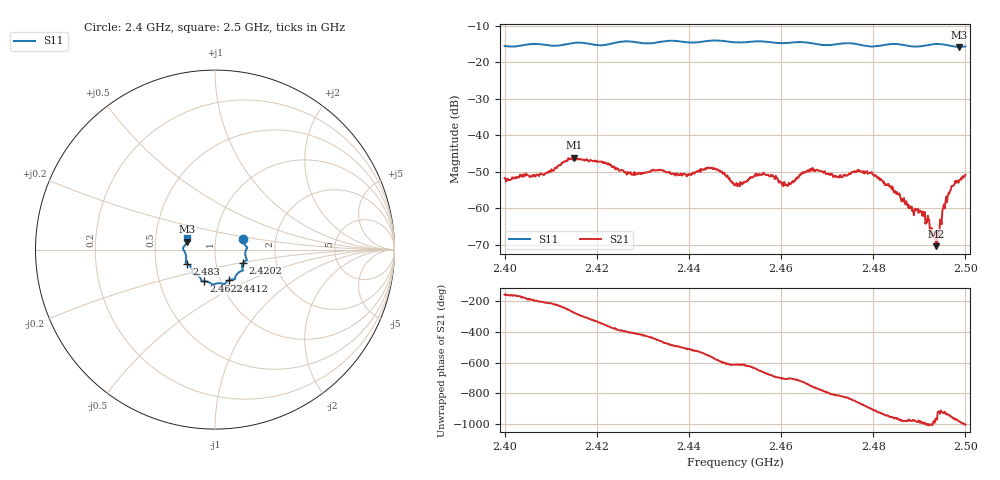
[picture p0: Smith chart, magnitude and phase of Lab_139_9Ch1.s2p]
# Hz S RI R 50
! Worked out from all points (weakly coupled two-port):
!   601 points, 2.4 GHz to 2.5 GHz, reference 50 ohm
!   highest |S21| = -46.14 dB at 2.415 GHz (marker M1); lowest = -70.4 dB at 2.4937 GHz (marker M2)
!   lowest |S11| = -15.8 dB at 2.4987 GHz (marker M3), VSWR 1.39, Z = 36.3 + j3.3 ohm
!   |S11| at or under -10 dB: start of sweep to end of sweep
!   S12 and S22 are empty: the file has one direction only
!   S11 on the Smith chart (normalised r, x): 2.4 GHz: 1.36, +0.17; 2.4202 GHz: 1.35, -0.20; 2.4412 GHz: 1.09, -0.39; 2.4622 GHz: 0.83, -0.30; 2.483 GHz: 0.72, -0.12; 2.5 GHz: 0.73, +0.09
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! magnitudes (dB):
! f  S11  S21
! 2.4 GHz  -15.5  -51.7
! 2.4087 GHz  -15.1  -50.7
! 2.415 GHz  -14.6  -46.1
! 2.4167 GHz  -14.6  -46.7
! 2.4202 GHz  -15.2  -47.3
! 2.4275 GHz  -14.3  -50.8
! 2.4333 GHz  -14.5  -49.4
! 2.4412 GHz  -14.5  -50.5
! 2.4458 GHz  -14.0  -49.3
! 2.45 GHz  -14.5  -53.7
! 2.4558 GHz  -14.2  -50.6
! 2.4622 GHz  -14.5  -53.2
! 2.4667 GHz  -14.7  -49.5
! 2.4722 GHz  -15.0  -51.3
! 2.4792 GHz  -15.6  -50.2
! 2.483 GHz  -15.1  -53.7
! 2.4833 GHz  -15.0  -53.3
! 2.4907 GHz  -15.5  -62.0
! 2.4937 GHz  -14.9  -70.4
! 2.4962 GHz  -15.3  -56.5
! 2.4987 GHz  -15.8  -52.2
! 2.5 GHz  -15.6  -50.8
